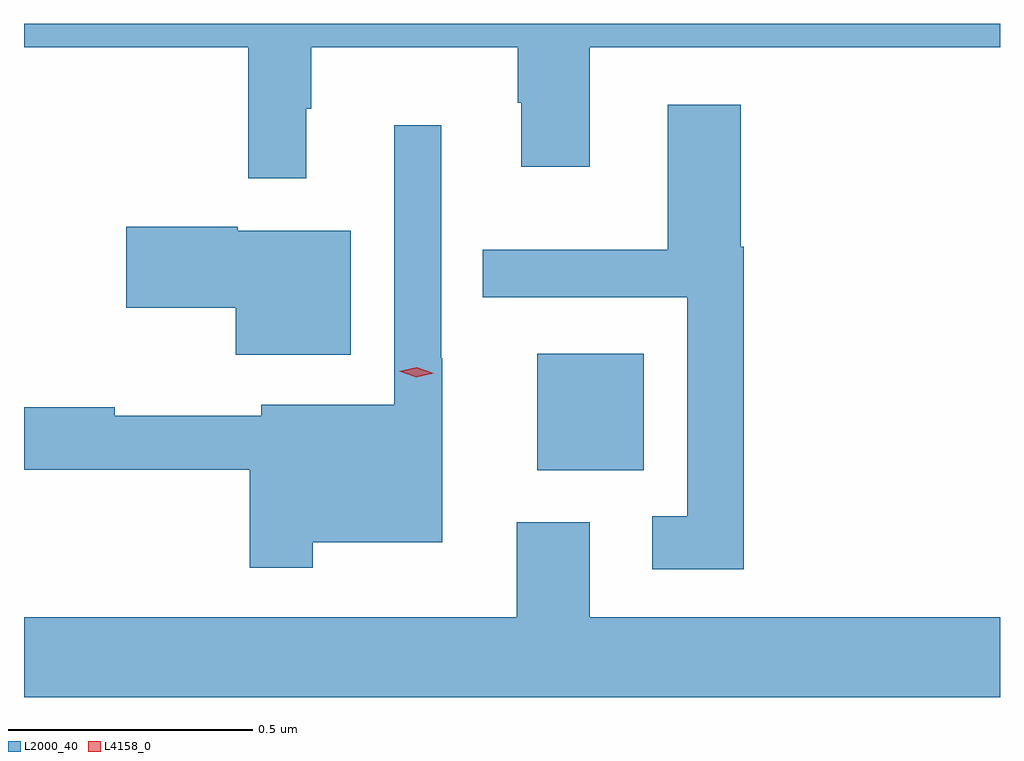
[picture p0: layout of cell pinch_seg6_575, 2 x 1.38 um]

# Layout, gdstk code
import gdstk
lib = gdstk.Library(unit=1e-6, precision=1e-09)
def R(c, l, rs):  # rectangles x0, y0, x1, y1
    for r in rs: c.add(gdstk.rectangle(r[:2], r[2:], *l))
def P(c, l, *ps):  # polygons
    for p in ps: c.add(gdstk.Polygon(p, *l))
L2000_40 = (2000, 40)
L4158_0 = (4158, 0)

pinch_seg6_575 = lib.new_cell('pinch_seg6_575')
R(pinch_seg6_575, L2000_40, [(593.324,997.085,593.542,997.324)])
P(pinch_seg6_575, L2000_40, [(592.85,997.826),(592.861,997.826),(592.861,997.952),(593.284,997.952),(593.284,997.838),(593.291,997.838),(593.291,997.707),(593.431,997.707),(593.431,997.952),(594.272,997.952),(594.272,998),(592.272,998),(592.272,997.952),(592.732,997.952),(592.732,997.683),(592.85,997.683)],
  [(593.747,997.543),(593.741,997.543),(593.741,997.834),(593.591,997.834),(593.591,997.537),(593.212,997.537),(593.212,997.44),(593.631,997.44),(593.631,996.991),(593.559,996.991),(593.559,996.882),(593.747,996.882)],
  [(592.864,996.938),(593.129,996.938),(593.129,997.315),(593.127,997.315),(593.127,997.792),(593.031,997.792),(593.031,997.219),(592.758,997.219),(592.758,997.197),(592.458,997.197),(592.458,997.214),(592.272,997.214),(592.272,997.086),(592.735,997.086),(592.735,996.885),(592.864,996.885)],
  [(592.942,997.576),(592.71,997.576),(592.71,997.584),(592.482,997.584),(592.482,997.418),(592.706,997.418),(592.706,997.322),(592.942,997.322)],
  [(594.272,996.784),(593.431,996.784),(593.431,996.979),(593.282,996.979),(593.282,996.784),(592.272,996.784),(592.272,996.62),(594.272,996.62)])
P(pinch_seg6_575, L4158_0, [(593.076,997.276),(593.041,997.288),(593.041,997.288),(593.041,997.288),(593.077,997.296),(593.112,997.284),(593.112,997.284),(593.112,997.284)])

lib.write_gds('pinch_seg6_575.gds')
